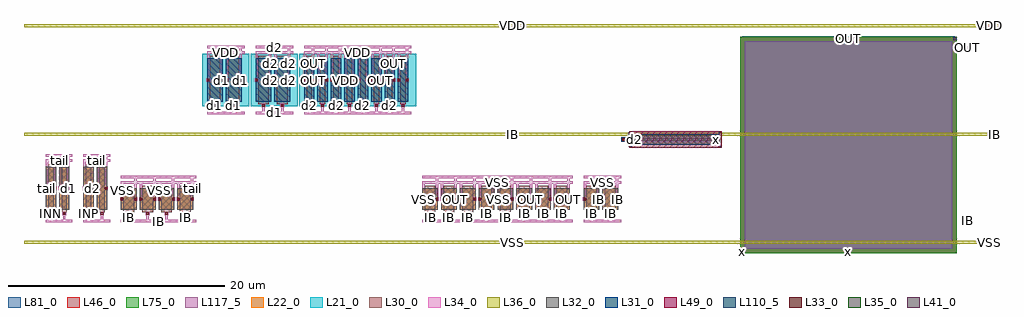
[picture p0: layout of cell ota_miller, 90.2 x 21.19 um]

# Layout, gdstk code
import gdstk
lib = gdstk.Library(unit=1e-6, precision=1e-09)
def R(c, l, rs):  # rectangles x0, y0, x1, y1
    for r in rs: c.add(gdstk.rectangle(r[:2], r[2:], *l))
def A(c, l, x, y, w, h, nx, ny, dx, dy):  # array of equal rectangles
    R(c, l, [(x+i*dx, y+j*dy, x+i*dx+w, y+j*dy+h) for i in range(nx) for j in range(ny)])
L21_0 = (21, 0)
L22_0 = (22, 0)
L30_0 = (30, 0)
L31_0 = (31, 0)
L32_0 = (32, 0)
L33_0 = (33, 0)
L34_0 = (34, 0)
L35_0 = (35, 0)
L36_0 = (36, 0)
L41_0 = (41, 0)
L46_0 = (46, 0)
L49_0 = (49, 0)
L75_0 = (75, 0)
L81_0 = (81, 0)
L110_5 = (110, 5)
L117_5 = (117, 5)

ota_miller = lib.new_cell('ota_miller')
R(ota_miller, L21_0, [(14.49,13.57,18.83,18.43), (18.97,13.57,23.31,18.43), (23.45,13.57,34.23,18.43)])
A(ota_miller, L22_0, 6.96, 4, 1.46, 2, 4, 1, 1.74, 0)
A(ota_miller, L22_0, 34.8, 4, 1.46, 2, 8, 1, 1.74, 0)
A(ota_miller, L22_0, 23.88, 14, 0.96, 4, 8, 1, 1.24, 0)
R(ota_miller, L22_0, [(0,4,0.96,8), (1.24,4,2.2,8), (3.48,4,4.44,8), (4.72,4,5.68,8), (49.72,4,51.18,6), (51.46,4,52.92,6), (53.2,10.28,53.64,10.72), (14.92,14,16.38,18), (16.66,14,18.12,18), (19.4,14,20.86,18), (21.14,14,22.6,18)])
A(ota_miller, L30_0, 7.19, 3.78, 1, 2.44, 4, 1, 1.74, 0)
A(ota_miller, L30_0, 35.03, 3.78, 1, 2.44, 8, 1, 1.74, 0)
A(ota_miller, L30_0, 24.11, 13.78, 0.5, 4.44, 8, 1, 1.24, 0)
R(ota_miller, L30_0, [(0.23,3.78,0.73,8.22), (1.47,3.78,1.97,8.22), (3.71,3.78,4.21,8.22), (4.95,3.78,5.45,8.22), (49.95,3.78,50.95,6.22), (51.69,3.78,52.69,6.22), (54.2,10,62.2,11), (15.15,13.78,16.15,18.22), (16.89,13.78,17.89,18.22), (19.63,13.78,20.63,18.22), (21.37,13.78,22.37,18.22)])
A(ota_miller, L31_0, 23.88, 14, 0.96, 4, 8, 1, 1.24, 0)
R(ota_miller, L31_0, [(53.9,9.85,54.2,11.15), (62.2,9.85,62.5,11.15), (53.2,10.28,53.64,10.72), (14.92,14,16.38,18), (16.66,14,18.12,18), (19.4,14,20.86,18), (21.14,14,22.6,18)])
A(ota_miller, L32_0, 6.96, 4, 1.46, 2, 4, 1, 1.74, 0)
A(ota_miller, L32_0, 34.8, 4, 1.46, 2, 8, 1, 1.74, 0)
R(ota_miller, L32_0, [(0,4,0.96,8), (1.24,4,2.2,8), (3.48,4,4.44,8), (4.72,4,5.68,8), (49.72,4,51.18,6), (51.46,4,52.92,6)])
A(ota_miller, L33_0, 7.58, 3.55, 0.22, 0.22, 4, 1, 1.74, 0)
A(ota_miller, L33_0, 35.42, 3.55, 0.22, 0.22, 8, 1, 1.74, 0)
A(ota_miller, L33_0, 24.25, 13.55, 0.22, 0.22, 8, 1, 1.24, 0)
R(ota_miller, L33_0, [(0.37,3.55,0.59,3.77), (1.61,3.55,1.83,3.77), (3.85,3.55,4.07,3.77), (5.09,3.55,5.31,3.77), (50.34,3.55,50.56,3.77), (52.08,3.55,52.3,3.77), (6.96,4.89,7.18,5.11), (8.2,4.89,8.42,5.11), (8.7,4.89,8.92,5.11), (9.94,4.89,10.16,5.11), (10.44,4.89,10.66,5.11), (11.68,4.89,11.9,5.11), (12.18,4.89,12.4,5.11), (13.42,4.89,13.64,5.11), (34.8,4.89,35.02,5.11), (36.04,4.89,36.26,5.11), (36.54,4.89,36.76,5.11), (37.78,4.89,38,5.11), (38.28,4.89,38.5,5.11), (39.52,4.89,39.74,5.11), (40.02,4.89,40.24,5.11), (41.26,4.89,41.48,5.11), (41.76,4.89,41.98,5.11), (43,4.89,43.22,5.11), (43.5,4.89,43.72,5.11), (44.74,4.89,44.96,5.11), (45.24,4.89,45.46,5.11), (46.48,4.89,46.7,5.11), (46.98,4.89,47.2,5.11), (48.22,4.89,48.44,5.11), (49.72,4.89,49.94,5.11), (50.96,4.89,51.18,5.11), (51.46,4.89,51.68,5.11), (52.7,4.89,52.92,5.11), (0,5.89,0.22,6.11), (0.74,5.89,0.96,6.11), (1.24,5.89,1.46,6.11), (1.98,5.89,2.2,6.11), (3.48,5.89,3.7,6.11), (4.22,5.89,4.44,6.11), (4.72,5.89,4.94,6.11), (5.46,5.89,5.68,6.11), (53.31,10.39,53.53,10.61), (54.27,10.39,54.49,10.61), (61.91,10.39,62.13,10.61), (15.54,13.55,15.76,13.77), (17.28,13.55,17.5,13.77), (20.02,13.55,20.24,13.77), (21.76,13.55,21.98,13.77), (14.92,15.89,15.14,16.11), (16.16,15.89,16.38,16.11), (16.66,15.89,16.88,16.11), (17.9,15.89,18.12,16.11), (19.4,15.89,19.62,16.11), (20.64,15.89,20.86,16.11), (21.14,15.89,21.36,16.11), (22.38,15.89,22.6,16.11), (23.88,15.89,24.1,16.11), (24.62,15.89,24.84,16.11), (25.12,15.89,25.34,16.11), (25.86,15.89,26.08,16.11), (26.36,15.89,26.58,16.11), (27.1,15.89,27.32,16.11), (27.6,15.89,27.82,16.11), (28.34,15.89,28.56,16.11), (28.84,15.89,29.06,16.11), (29.58,15.89,29.8,16.11), (30.08,15.89,30.3,16.11), (30.82,15.89,31.04,16.11), (31.32,15.89,31.54,16.11), (32.06,15.89,32.28,16.11), (32.56,15.89,32.78,16.11), (33.3,15.89,33.52,16.11)])
A(ota_miller, L34_0, 87.51, 0.81, 0.38, 0.38, 1, 3, 0, 10)
A(ota_miller, L34_0, 7.575, 2.96, 0.23, 0.7, 4, 1, 1.74, 0)
A(ota_miller, L34_0, 35.415, 2.96, 0.23, 0.7, 8, 1, 1.74, 0)
A(ota_miller, L34_0, 7.52, 3.49, 0.34, 0.34, 4, 1, 1.74, 0)
A(ota_miller, L34_0, 35.36, 3.49, 0.34, 0.34, 8, 1, 1.74, 0)
A(ota_miller, L34_0, 6.955, 5, 0.23, 1.54, 4, 1, 1.74, 0)
A(ota_miller, L34_0, 8.195, 5, 0.23, 2.04, 4, 1, 1.74, 0)
A(ota_miller, L34_0, 34.795, 5, 0.23, 1.54, 8, 1, 1.74, 0)
A(ota_miller, L34_0, 36.035, 5, 0.23, 2.04, 8, 1, 1.74, 0)
A(ota_miller, L34_0, 24.245, 12.96, 0.23, 0.7, 8, 1, 1.24, 0)
A(ota_miller, L34_0, 24.19, 13.49, 0.34, 0.34, 8, 1, 1.24, 0)
A(ota_miller, L34_0, 23.875, 16, 0.23, 2.54, 8, 1, 1.24, 0)
A(ota_miller, L34_0, 24.615, 16, 0.23, 3.04, 8, 1, 1.24, 0)
R(ota_miller, L34_0, [(87.085,0.885,87.315,1.115), (0,2.845,2.48,3.075), (3.48,2.845,5.96,3.075), (6.96,2.845,13.92,3.075), (34.8,2.845,48.72,3.075), (49.72,2.845,53.2,3.075), (0.385,2.885,0.615,3.115), (85.085,2.885,85.315,3.115), (0.365,2.96,0.595,3.66), (1.605,2.96,1.835,3.66), (3.845,2.96,4.075,3.66), (5.085,2.96,5.315,3.66), (50.335,2.96,50.565,3.66), (52.075,2.96,52.305,3.66), (0.31,3.49,0.65,3.83), (1.55,3.49,1.89,3.83), (3.79,3.49,4.13,3.83), (5.03,3.49,5.37,3.83), (50.28,3.49,50.62,3.83), (52.02,3.49,52.36,3.83), (6.9,4.83,7.24,5.17), (8.14,4.83,8.48,5.17), (8.64,4.83,8.98,5.17), (9.88,4.83,10.22,5.17), (10.38,4.83,10.72,5.17), (11.62,4.83,11.96,5.17), (12.12,4.83,12.46,5.17), (13.36,4.83,13.7,5.17), (34.74,4.83,35.08,5.17), (35.98,4.83,36.32,5.17), (36.48,4.83,36.82,5.17), (37.72,4.83,38.06,5.17), (38.22,4.83,38.56,5.17), (39.46,4.83,39.8,5.17), (39.96,4.83,40.3,5.17), (41.2,4.83,41.54,5.17), (41.7,4.83,42.04,5.17), (42.94,4.83,43.28,5.17), (43.44,4.83,43.78,5.17), (44.68,4.83,45.02,5.17), (45.18,4.83,45.52,5.17), (46.42,4.83,46.76,5.17), (46.92,4.83,47.26,5.17), (48.16,4.83,48.5,5.17), (49.66,4.83,50,5.17), (50.9,4.83,51.24,5.17), (51.4,4.83,51.74,5.17), (52.64,4.83,52.98,5.17), (49.715,5,49.945,6.54), (50.955,5,51.185,7.04), (51.455,5,51.685,6.54), (52.695,5,52.925,7.04), (-0.06,5.83,0.28,6.17), (0.68,5.83,1.02,6.17), (1.18,5.83,1.52,6.17), (1.92,5.83,2.26,6.17), (3.42,5.83,3.76,6.17), (4.16,5.83,4.5,6.17), (4.66,5.83,5,6.17), (5.4,5.83,5.74,6.17), (-0.005,6,0.225,8.54), (0.735,6,0.965,9.04), (1.235,6,1.465,8.54), (1.975,6,2.205,9.04), (3.475,6,3.705,8.54), (4.215,6,4.445,9.04), (4.715,6,4.945,8.54), (5.455,6,5.685,9.04), (6.96,6.425,13.92,6.655), (34.8,6.425,48.72,6.655), (49.72,6.425,53.2,6.655), (6.96,6.925,13.92,7.155), (34.8,6.925,48.72,7.155), (49.72,6.925,53.2,7.155), (0,8.425,2.48,8.655), (3.48,8.425,5.96,8.655), (0.385,8.885,0.615,9.115), (0,8.925,2.48,9.155), (3.48,8.925,5.96,9.155), (53.25,10.33,53.59,10.67), (54.21,10.33,54.55,10.67), (61.85,10.33,62.19,10.67), (53.2,10.385,53.64,10.615), (54.38,10.385,62.02,10.615), (14.92,12.845,18.4,13.075), (19.4,12.845,22.88,13.075), (23.88,12.845,33.8,13.075), (15.535,12.96,15.765,13.66), (17.275,12.96,17.505,13.66), (20.015,12.96,20.245,13.66), (21.755,12.96,21.985,13.66), (15.48,13.49,15.82,13.83), (17.22,13.49,17.56,13.83), (19.96,13.49,20.3,13.83), (21.7,13.49,22.04,13.83), (14.86,15.83,15.2,16.17), (16.1,15.83,16.44,16.17), (16.6,15.83,16.94,16.17), (17.84,15.83,18.18,16.17), (19.34,15.83,19.68,16.17), (20.58,15.83,20.92,16.17), (21.08,15.83,21.42,16.17), (22.32,15.83,22.66,16.17), (23.82,15.83,24.16,16.17), (24.56,15.83,24.9,16.17), (25.06,15.83,25.4,16.17), (25.8,15.83,26.14,16.17), (26.3,15.83,26.64,16.17), (27.04,15.83,27.38,16.17), (27.54,15.83,27.88,16.17), (28.28,15.83,28.62,16.17), (28.78,15.83,29.12,16.17), (29.52,15.83,29.86,16.17), (30.02,15.83,30.36,16.17), (30.76,15.83,31.1,16.17), (31.26,15.83,31.6,16.17), (32,15.83,32.34,16.17), (32.5,15.83,32.84,16.17), (33.24,15.83,33.58,16.17), (14.915,16,15.145,18.54), (16.155,16,16.385,19.04), (16.655,16,16.885,18.54), (17.895,16,18.125,19.04), (19.395,16,19.625,18.54), (20.635,16,20.865,19.04), (21.135,16,21.365,18.54), (22.375,16,22.605,19.04), (14.92,18.425,18.4,18.655), (19.4,18.425,22.88,18.655), (23.88,18.425,33.8,18.655), (85.085,18.885,85.315,19.115), (14.92,18.925,18.4,19.155), (19.4,18.925,22.88,19.155), (23.88,18.925,33.8,19.155), (87.085,20.885,87.315,21.115)])
A(ota_miller, L35_0, 87.57, 0.87, 0.26, 0.26, 1, 3, 0, 10)
A(ota_miller, L36_0, 87.51, 0.81, 0.38, 0.38, 1, 3, 0, 10)
A(ota_miller, L36_0, -2, 0.86, 90.2, 0.28, 1, 3, 0, 10)
R(ota_miller, L41_0, [(64.26,0.06,64.52,0.32), (83.88,19.68,84.14,19.94)])
R(ota_miller, L46_0, [(64.2,0,84.2,20), (64.2,0,64.58,0.38), (64.39,0.05,84.01,0.33), (83.82,19.62,84.2,20)])
R(ota_miller, L49_0, [(53.92,9.72,62.48,11.28)])
R(ota_miller, L75_0, [(64.2,0,84.2,20)])
R(ota_miller, L81_0, [(64.2,0,84.2,20), (64.2,0,64.58,0.38), (64.39,19.59,84.01,20.03), (83.82,19.62,84.2,20)])
R(ota_miller, L110_5, [(54.2,10,62.2,11)])
R(ota_miller, L117_5, [(64.6,0.4,83.8,19.6)])
ota_miller.add(gdstk.Label('OUT', (44.85,5), layer=34, texttype=10))
ota_miller.add(gdstk.Label('IB', (44.23,3.66), layer=34, texttype=10))
ota_miller.add(gdstk.Label('VSS', (45.35,5), layer=34, texttype=10))
ota_miller.add(gdstk.Label('OUT', (46.59,5), layer=34, texttype=10))
ota_miller.add(gdstk.Label('IB', (45.97,3.66), layer=34, texttype=10))
ota_miller.add(gdstk.Label('VSS', (47.09,5), layer=34, texttype=10))
ota_miller.add(gdstk.Label('OUT', (48.33,5), layer=34, texttype=10))
ota_miller.add(gdstk.Label('IB', (47.71,3.66), layer=34, texttype=10))
ota_miller.add(gdstk.Label('VSS', (45.35,5.77), layer=34, texttype=10))
ota_miller.add(gdstk.Label('VSS', (47.09,5.77), layer=34, texttype=10))
ota_miller.add(gdstk.Label('OUT', (44.85,6.02), layer=34, texttype=10))
ota_miller.add(gdstk.Label('OUT', (46.59,6.02), layer=34, texttype=10))
ota_miller.add(gdstk.Label('OUT', (48.33,6.02), layer=34, texttype=10))
ota_miller.add(gdstk.Label('IB', (44.23,3.31), layer=34, texttype=10))
ota_miller.add(gdstk.Label('IB', (45.97,3.31), layer=34, texttype=10))
ota_miller.add(gdstk.Label('IB', (47.71,3.31), layer=34, texttype=10))
ota_miller.add(gdstk.Label('VSS', (49.83,5), layer=34, texttype=10))
ota_miller.add(gdstk.Label('IB', (51.07,5), layer=34, texttype=10))
ota_miller.add(gdstk.Label('IB', (50.45,3.66), layer=34, texttype=10))
ota_miller.add(gdstk.Label('VSS', (51.57,5), layer=34, texttype=10))
ota_miller.add(gdstk.Label('IB', (52.81,5), layer=34, texttype=10))
ota_miller.add(gdstk.Label('IB', (52.19,3.66), layer=34, texttype=10))
ota_miller.add(gdstk.Label('VSS', (51.46,6.54), layer=34, texttype=10))
ota_miller.add(gdstk.Label('VSS', (49.83,5.77), layer=34, texttype=10))
ota_miller.add(gdstk.Label('VSS', (51.57,5.77), layer=34, texttype=10))
ota_miller.add(gdstk.Label('IB', (51.46,7.04), layer=34, texttype=10))
ota_miller.add(gdstk.Label('IB', (51.07,6.02), layer=34, texttype=10))
ota_miller.add(gdstk.Label('IB', (52.81,6.02), layer=34, texttype=10))
ota_miller.add(gdstk.Label('IB', (51.46,2.96), layer=34, texttype=10))
ota_miller.add(gdstk.Label('IB', (50.45,3.31), layer=34, texttype=10))
ota_miller.add(gdstk.Label('IB', (52.19,3.31), layer=34, texttype=10))
ota_miller.add(gdstk.Label('d2', (54.38,10.5), layer=34, texttype=10))
ota_miller.add(gdstk.Label('x', (62.02,10.5), layer=34, texttype=10))
ota_miller.add(gdstk.Label('VSS', (53.42,10.5), layer=34, texttype=10))
ota_miller.add(gdstk.Label('VSS', (53.42,10.5), layer=34, texttype=10))
ota_miller.add(gdstk.Label('OUT', (85.2,19), layer=34, texttype=10))
ota_miller.add(gdstk.Label('IB', (85.2,3), layer=34, texttype=10))
ota_miller.add(gdstk.Label('VDD', (87.2,21), layer=34, texttype=10))
ota_miller.add(gdstk.Label('d2', (22.49,16), layer=34, texttype=10))
ota_miller.add(gdstk.Label('d2', (22.49,17.52), layer=34, texttype=10))
ota_miller.add(gdstk.Label('VDD', (23.99,16), layer=34, texttype=10))
ota_miller.add(gdstk.Label('OUT', (24.73,16), layer=34, texttype=10))
ota_miller.add(gdstk.Label('d2', (24.36,13.66), layer=34, texttype=10))
ota_miller.add(gdstk.Label('VDD', (25.23,16), layer=34, texttype=10))
ota_miller.add(gdstk.Label('OUT', (25.97,16), layer=34, texttype=10))
ota_miller.add(gdstk.Label('d2', (25.6,13.66), layer=34, texttype=10))
ota_miller.add(gdstk.Label('VDD', (26.47,16), layer=34, texttype=10))
ota_miller.add(gdstk.Label('OUT', (27.21,16), layer=34, texttype=10))
ota_miller.add(gdstk.Label('d2', (26.84,13.66), layer=34, texttype=10))
ota_miller.add(gdstk.Label('VDD', (27.71,16), layer=34, texttype=10))
ota_miller.add(gdstk.Label('OUT', (28.45,16), layer=34, texttype=10))
ota_miller.add(gdstk.Label('d2', (28.08,13.66), layer=34, texttype=10))
ota_miller.add(gdstk.Label('VDD', (28.95,16), layer=34, texttype=10))
ota_miller.add(gdstk.Label('OUT', (29.69,16), layer=34, texttype=10))
ota_miller.add(gdstk.Label('d2', (29.32,13.66), layer=34, texttype=10))
ota_miller.add(gdstk.Label('VDD', (30.19,16), layer=34, texttype=10))
ota_miller.add(gdstk.Label('OUT', (30.93,16), layer=34, texttype=10))
ota_miller.add(gdstk.Label('d2', (30.56,13.66), layer=34, texttype=10))
ota_miller.add(gdstk.Label('VDD', (31.43,16), layer=34, texttype=10))
ota_miller.add(gdstk.Label('OUT', (32.17,16), layer=34, texttype=10))
ota_miller.add(gdstk.Label('d2', (31.8,13.66), layer=34, texttype=10))
ota_miller.add(gdstk.Label('VDD', (32.67,16), layer=34, texttype=10))
ota_miller.add(gdstk.Label('OUT', (33.41,16), layer=34, texttype=10))
ota_miller.add(gdstk.Label('d2', (33.04,13.66), layer=34, texttype=10))
ota_miller.add(gdstk.Label('VDD', (28.84,18.54), layer=34, texttype=10))
ota_miller.add(gdstk.Label('VDD', (23.99,17.27), layer=34, texttype=10))
ota_miller.add(gdstk.Label('VDD', (25.23,17.27), layer=34, texttype=10))
ota_miller.add(gdstk.Label('VDD', (26.47,17.27), layer=34, texttype=10))
ota_miller.add(gdstk.Label('VDD', (27.71,17.27), layer=34, texttype=10))
ota_miller.add(gdstk.Label('VDD', (28.95,17.27), layer=34, texttype=10))
ota_miller.add(gdstk.Label('VDD', (30.19,17.27), layer=34, texttype=10))
ota_miller.add(gdstk.Label('VDD', (31.43,17.27), layer=34, texttype=10))
ota_miller.add(gdstk.Label('VDD', (32.67,17.27), layer=34, texttype=10))
ota_miller.add(gdstk.Label('OUT', (28.84,19.04), layer=34, texttype=10))
ota_miller.add(gdstk.Label('OUT', (24.73,17.52), layer=34, texttype=10))
ota_miller.add(gdstk.Label('OUT', (25.97,17.52), layer=34, texttype=10))
ota_miller.add(gdstk.Label('OUT', (27.21,17.52), layer=34, texttype=10))
ota_miller.add(gdstk.Label('OUT', (28.45,17.52), layer=34, texttype=10))
ota_miller.add(gdstk.Label('OUT', (29.69,17.52), layer=34, texttype=10))
ota_miller.add(gdstk.Label('OUT', (30.93,17.52), layer=34, texttype=10))
ota_miller.add(gdstk.Label('OUT', (32.17,17.52), layer=34, texttype=10))
ota_miller.add(gdstk.Label('OUT', (33.41,17.52), layer=34, texttype=10))
ota_miller.add(gdstk.Label('d2', (28.84,12.96), layer=34, texttype=10))
ota_miller.add(gdstk.Label('d2', (24.36,13.31), layer=34, texttype=10))
ota_miller.add(gdstk.Label('d2', (25.6,13.31), layer=34, texttype=10))
ota_miller.add(gdstk.Label('d2', (26.84,13.31), layer=34, texttype=10))
ota_miller.add(gdstk.Label('d2', (28.08,13.31), layer=34, texttype=10))
ota_miller.add(gdstk.Label('d2', (29.32,13.31), layer=34, texttype=10))
ota_miller.add(gdstk.Label('d2', (30.56,13.31), layer=34, texttype=10))
ota_miller.add(gdstk.Label('d2', (31.8,13.31), layer=34, texttype=10))
ota_miller.add(gdstk.Label('d2', (33.04,13.31), layer=34, texttype=10))
ota_miller.add(gdstk.Label('d2', (20.75,17.52), layer=34, texttype=10))
ota_miller.add(gdstk.Label('d1', (16.27,16), layer=34, texttype=10))
ota_miller.add(gdstk.Label('d1', (21.14,12.96), layer=34, texttype=10))
ota_miller.add(gdstk.Label('d1', (20.13,13.31), layer=34, texttype=10))
ota_miller.add(gdstk.Label('d1', (21.87,13.31), layer=34, texttype=10))
ota_miller.add(gdstk.Label('d1', (15.65,13.66), layer=34, texttype=10))
ota_miller.add(gdstk.Label('VDD', (16.77,16), layer=34, texttype=10))
ota_miller.add(gdstk.Label('d1', (18.01,16), layer=34, texttype=10))
ota_miller.add(gdstk.Label('d1', (17.39,13.66), layer=34, texttype=10))
ota_miller.add(gdstk.Label('VDD', (16.66,18.54), layer=34, texttype=10))
ota_miller.add(gdstk.Label('VDD', (15.03,17.27), layer=34, texttype=10))
ota_miller.add(gdstk.Label('VDD', (16.77,17.27), layer=34, texttype=10))
ota_miller.add(gdstk.Label('d1', (16.66,19.04), layer=34, texttype=10))
ota_miller.add(gdstk.Label('d1', (16.27,17.52), layer=34, texttype=10))
ota_miller.add(gdstk.Label('d1', (18.01,17.52), layer=34, texttype=10))
ota_miller.add(gdstk.Label('d1', (16.66,12.96), layer=34, texttype=10))
ota_miller.add(gdstk.Label('d1', (15.65,13.31), layer=34, texttype=10))
ota_miller.add(gdstk.Label('d1', (17.39,13.31), layer=34, texttype=10))
ota_miller.add(gdstk.Label('VDD', (19.51,16), layer=34, texttype=10))
ota_miller.add(gdstk.Label('d2', (20.75,16), layer=34, texttype=10))
ota_miller.add(gdstk.Label('d1', (20.13,13.66), layer=34, texttype=10))
ota_miller.add(gdstk.Label('VDD', (21.25,16), layer=34, texttype=10))
ota_miller.add(gdstk.Label('VDD', (15.03,16), layer=34, texttype=10))
ota_miller.add(gdstk.Label('d1', (21.87,13.66), layer=34, texttype=10))
ota_miller.add(gdstk.Label('VDD', (21.14,18.54), layer=34, texttype=10))
ota_miller.add(gdstk.Label('VDD', (19.51,17.27), layer=34, texttype=10))
ota_miller.add(gdstk.Label('VDD', (21.25,17.27), layer=34, texttype=10))
ota_miller.add(gdstk.Label('d2', (21.14,19.04), layer=34, texttype=10))
ota_miller.add(gdstk.Label('VSS', (7.07,5.77), layer=34, texttype=10))
ota_miller.add(gdstk.Label('VSS', (8.81,5.77), layer=34, texttype=10))
ota_miller.add(gdstk.Label('VSS', (10.55,5.77), layer=34, texttype=10))
ota_miller.add(gdstk.Label('VSS', (12.29,5.77), layer=34, texttype=10))
ota_miller.add(gdstk.Label('tail', (10.44,7.04), layer=34, texttype=10))
ota_miller.add(gdstk.Label('tail', (8.31,6.02), layer=34, texttype=10))
ota_miller.add(gdstk.Label('tail', (10.05,6.02), layer=34, texttype=10))
ota_miller.add(gdstk.Label('tail', (11.79,6.02), layer=34, texttype=10))
ota_miller.add(gdstk.Label('tail', (13.53,6.02), layer=34, texttype=10))
ota_miller.add(gdstk.Label('IB', (10.44,2.96), layer=34, texttype=10))
ota_miller.add(gdstk.Label('IB', (7.69,3.31), layer=34, texttype=10))
ota_miller.add(gdstk.Label('IB', (9.43,3.31), layer=34, texttype=10))
ota_miller.add(gdstk.Label('IB', (11.17,3.31), layer=34, texttype=10))
ota_miller.add(gdstk.Label('IB', (12.91,3.31), layer=34, texttype=10))
ota_miller.add(gdstk.Label('IB', (11.17,3.66), layer=34, texttype=10))
ota_miller.add(gdstk.Label('VSS', (12.29,5), layer=34, texttype=10))
ota_miller.add(gdstk.Label('tail', (13.53,5), layer=34, texttype=10))
ota_miller.add(gdstk.Label('IB', (12.91,3.66), layer=34, texttype=10))
ota_miller.add(gdstk.Label('VSS', (10.44,6.54), layer=34, texttype=10))
ota_miller.add(gdstk.Label('tail', (0.11,6), layer=34, texttype=10))
ota_miller.add(gdstk.Label('d1', (0.85,6), layer=34, texttype=10))
ota_miller.add(gdstk.Label('INN', (0.48,3.66), layer=34, texttype=10))
ota_miller.add(gdstk.Label('tail', (1.35,6), layer=34, texttype=10))
ota_miller.add(gdstk.Label('d1', (2.09,6), layer=34, texttype=10))
ota_miller.add(gdstk.Label('INN', (1.72,3.66), layer=34, texttype=10))
ota_miller.add(gdstk.Label('tail', (1.24,8.54), layer=34, texttype=10))
ota_miller.add(gdstk.Label('tail', (0.11,7.27), layer=34, texttype=10))
ota_miller.add(gdstk.Label('tail', (1.35,7.27), layer=34, texttype=10))
ota_miller.add(gdstk.Label('d1', (1.24,9.04), layer=34, texttype=10))
ota_miller.add(gdstk.Label('d1', (0.85,7.52), layer=34, texttype=10))
ota_miller.add(gdstk.Label('d1', (2.09,7.52), layer=34, texttype=10))
ota_miller.add(gdstk.Label('INN', (1.24,2.96), layer=34, texttype=10))
ota_miller.add(gdstk.Label('INN', (0.48,3.31), layer=34, texttype=10))
ota_miller.add(gdstk.Label('INN', (1.72,3.31), layer=34, texttype=10))
ota_miller.add(gdstk.Label('tail', (3.59,6), layer=34, texttype=10))
ota_miller.add(gdstk.Label('d2', (4.33,6), layer=34, texttype=10))
ota_miller.add(gdstk.Label('INP', (3.96,3.66), layer=34, texttype=10))
ota_miller.add(gdstk.Label('tail', (4.83,6), layer=34, texttype=10))
ota_miller.add(gdstk.Label('d2', (5.57,6), layer=34, texttype=10))
ota_miller.add(gdstk.Label('INP', (5.2,3.66), layer=34, texttype=10))
ota_miller.add(gdstk.Label('tail', (4.72,8.54), layer=34, texttype=10))
ota_miller.add(gdstk.Label('tail', (3.59,7.27), layer=34, texttype=10))
ota_miller.add(gdstk.Label('tail', (4.83,7.27), layer=34, texttype=10))
ota_miller.add(gdstk.Label('d2', (4.72,9.04), layer=34, texttype=10))
ota_miller.add(gdstk.Label('d2', (4.33,7.52), layer=34, texttype=10))
ota_miller.add(gdstk.Label('d2', (5.57,7.52), layer=34, texttype=10))
ota_miller.add(gdstk.Label('INP', (4.72,2.96), layer=34, texttype=10))
ota_miller.add(gdstk.Label('INP', (3.96,3.31), layer=34, texttype=10))
ota_miller.add(gdstk.Label('INP', (5.2,3.31), layer=34, texttype=10))
ota_miller.add(gdstk.Label('VSS', (7.07,5), layer=34, texttype=10))
ota_miller.add(gdstk.Label('tail', (8.31,5), layer=34, texttype=10))
ota_miller.add(gdstk.Label('IB', (7.69,3.66), layer=34, texttype=10))
ota_miller.add(gdstk.Label('VSS', (8.81,5), layer=34, texttype=10))
ota_miller.add(gdstk.Label('tail', (10.05,5), layer=34, texttype=10))
ota_miller.add(gdstk.Label('INP', (0.5,3), layer=34, texttype=10))
ota_miller.add(gdstk.Label('INN', (0.5,9), layer=34, texttype=10))
ota_miller.add(gdstk.Label('IB', (9.43,3.66), layer=34, texttype=10))
ota_miller.add(gdstk.Label('VSS', (10.55,5), layer=34, texttype=10))
ota_miller.add(gdstk.Label('tail', (11.79,5), layer=34, texttype=10))
ota_miller.add(gdstk.Label('IB', (40.75,3.66), layer=34, texttype=10))
ota_miller.add(gdstk.Label('VSS', (41.87,5), layer=34, texttype=10))
ota_miller.add(gdstk.Label('IB', (41.76,2.96), layer=34, texttype=10))
ota_miller.add(gdstk.Label('IB', (35.53,3.31), layer=34, texttype=10))
ota_miller.add(gdstk.Label('IB', (37.27,3.31), layer=34, texttype=10))
ota_miller.add(gdstk.Label('IB', (39.01,3.31), layer=34, texttype=10))
ota_miller.add(gdstk.Label('IB', (40.75,3.31), layer=34, texttype=10))
ota_miller.add(gdstk.Label('IB', (42.49,3.31), layer=34, texttype=10))
ota_miller.add(gdstk.Label('OUT', (43.11,5), layer=34, texttype=10))
ota_miller.add(gdstk.Label('IB', (42.49,3.66), layer=34, texttype=10))
ota_miller.add(gdstk.Label('VSS', (43.61,5), layer=34, texttype=10))
ota_miller.add(gdstk.Label('VSS', (34.91,5), layer=34, texttype=10))
ota_miller.add(gdstk.Label('OUT', (36.15,5), layer=34, texttype=10))
ota_miller.add(gdstk.Label('IB', (35.53,3.66), layer=34, texttype=10))
ota_miller.add(gdstk.Label('VSS', (36.65,5), layer=34, texttype=10))
ota_miller.add(gdstk.Label('OUT', (37.89,5), layer=34, texttype=10))
ota_miller.add(gdstk.Label('IB', (37.27,3.66), layer=34, texttype=10))
ota_miller.add(gdstk.Label('VSS', (38.39,5), layer=34, texttype=10))
ota_miller.add(gdstk.Label('OUT', (39.63,5), layer=34, texttype=10))
ota_miller.add(gdstk.Label('VSS', (41.76,6.54), layer=34, texttype=10))
ota_miller.add(gdstk.Label('VSS', (34.91,5.77), layer=34, texttype=10))
ota_miller.add(gdstk.Label('VSS', (36.65,5.77), layer=34, texttype=10))
ota_miller.add(gdstk.Label('VSS', (38.39,5.77), layer=34, texttype=10))
ota_miller.add(gdstk.Label('VSS', (40.13,5.77), layer=34, texttype=10))
ota_miller.add(gdstk.Label('VSS', (41.87,5.77), layer=34, texttype=10))
ota_miller.add(gdstk.Label('VSS', (43.61,5.77), layer=34, texttype=10))
ota_miller.add(gdstk.Label('IB', (39.01,3.66), layer=34, texttype=10))
ota_miller.add(gdstk.Label('VSS', (40.13,5), layer=34, texttype=10))
ota_miller.add(gdstk.Label('OUT', (41.76,7.04), layer=34, texttype=10))
ota_miller.add(gdstk.Label('OUT', (36.15,6.02), layer=34, texttype=10))
ota_miller.add(gdstk.Label('OUT', (37.89,6.02), layer=34, texttype=10))
ota_miller.add(gdstk.Label('OUT', (39.63,6.02), layer=34, texttype=10))
ota_miller.add(gdstk.Label('OUT', (41.37,6.02), layer=34, texttype=10))
ota_miller.add(gdstk.Label('OUT', (43.11,6.02), layer=34, texttype=10))
ota_miller.add(gdstk.Label('OUT', (41.37,5), layer=34, texttype=10))
ota_miller.add(gdstk.Label('VSS', (87.2,1), layer=34, texttype=10))
ota_miller.add(gdstk.Label('VDD', (43.1,21), layer=36, texttype=10))
ota_miller.add(gdstk.Label('VSS', (43.1,1), layer=36, texttype=10))
ota_miller.add(gdstk.Label('IB', (43.1,11), layer=36, texttype=10))
ota_miller.add(gdstk.Label('VDD', (87.7,21), layer=36, texttype=10))
ota_miller.add(gdstk.Label('VSS', (87.7,1), layer=36, texttype=10))
ota_miller.add(gdstk.Label('IB', (87.7,11), layer=36, texttype=10))
ota_miller.add(gdstk.Label('x', (74.2,0.19), layer=46, texttype=10))
ota_miller.add(gdstk.Label('x', (64.39,0.19), layer=81, texttype=10))
ota_miller.add(gdstk.Label('OUT', (84.01,19.81), layer=81, texttype=10))
ota_miller.add(gdstk.Label('OUT', (74.2,19.81), layer=81, texttype=10))
ota_miller.add(gdstk.Label('VDD', (16.66,16), layer=21, texttype=10))
ota_miller.add(gdstk.Label('VDD', (21.14,16), layer=21, texttype=10))
ota_miller.add(gdstk.Label('VDD', (28.84,16), layer=21, texttype=10))

lib.write_gds('ota_miller.gds')
